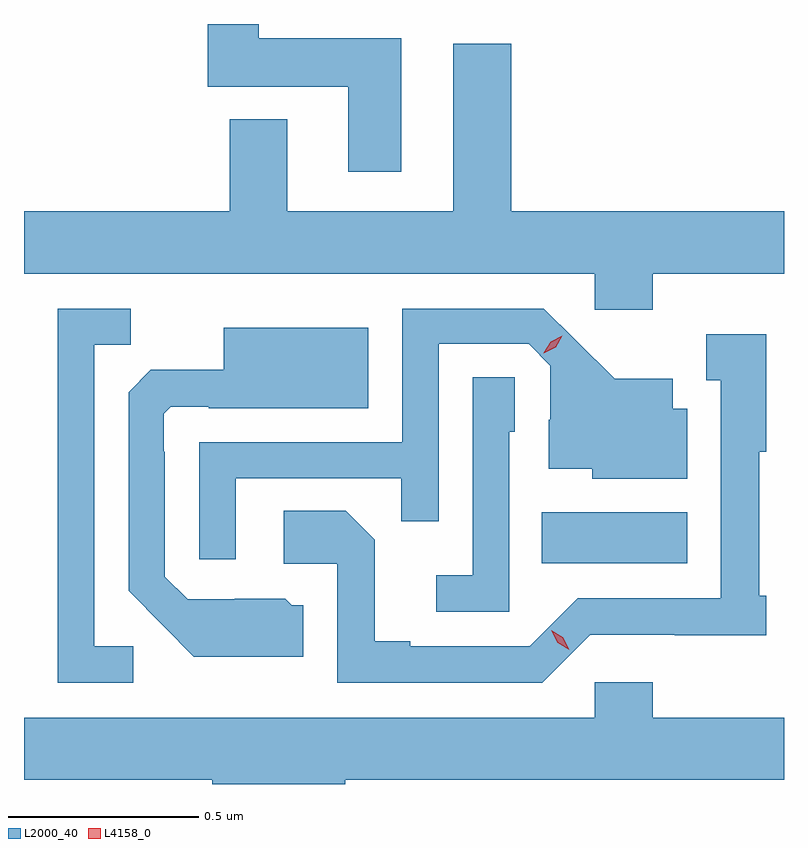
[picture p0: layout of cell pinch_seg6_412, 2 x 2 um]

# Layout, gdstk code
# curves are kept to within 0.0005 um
import gdstk
lib = gdstk.Library(unit=1e-6, precision=1e-09)
def R(c, l, rs):  # rectangles x0, y0, x1, y1
    for r in rs: c.add(gdstk.rectangle(r[:2], r[2:], *l))
def P(c, l, *ps):  # polygons
    for p in ps: c.add(gdstk.Polygon(p, *l))
L2000_40 = (2000, 40)
L4158_0 = (4158, 0)

pinch_seg6_412 = lib.new_cell('pinch_seg6_412')
R(pinch_seg6_412, L2000_40, [(665.728,934.586,666.112,934.72)])
P(pinch_seg6_412, L2000_40, [(665.359,935.968),(664.984,935.968),(664.984,936.005),(664.85,936.005),(664.85,935.84),(665.219,935.84),(665.219,935.616),(665.359,935.616)],
  [(665.868,935.253),(666.02,935.253),(666.02,935.348),(666.366,935.348),(666.366,935.512),(665.648,935.512),(665.648,935.953),(665.495,935.953),(665.495,935.512),(665.059,935.512),(665.059,935.755),(664.907,935.755),(664.907,935.512),(664.366,935.512),(664.366,935.348),(665.868,935.348)],
  [(664.654,934.368),(664.551,934.368),(664.551,935.161),(664.647,935.161),(664.647,935.256),(664.455,935.256),(664.455,934.272),(664.654,934.272)],
  [(664.923,934.809),(665.359,934.809),(665.359,934.696),(665.457,934.696),(665.457,935.163),(665.694,935.163),(665.751,935.106),(665.751,934.964),(665.747,934.964),(665.747,934.835),(665.862,934.835),(665.862,934.808),(666.112,934.808),(666.112,934.993),(666.073,934.993),(666.073,935.071),(665.921,935.071),(665.734,935.256),(665.361,935.256),(665.361,934.905),(664.827,934.905),(664.827,934.596),(664.923,934.596)],
  [(665.101,934.476),(665.07,934.476),(665.054,934.492),(664.92,934.492),(664.92,934.491),(664.797,934.491),(664.737,934.551),(664.737,934.88),(664.734,934.88),(664.734,934.98),(664.752,934.998),(664.852,934.998),(664.852,934.994),(665.272,934.994),(665.272,935.206),(664.892,935.206),(664.892,935.095),(664.7,935.095),(664.641,935.036),(664.641,934.514),(664.813,934.34),(665.101,934.34)],
  [(665.856,934.398),(666.078,934.398),(666.078,934.397),(666.319,934.397),(666.319,934.501),(666.301,934.501),(666.301,934.879),(666.319,934.879),(666.319,935.188),(666.161,935.188),(666.161,935.067),(666.2,935.067),(666.2,934.494),(665.823,934.494),(665.697,934.368),(665.383,934.368),(665.383,934.381),(665.289,934.381),(665.289,934.648),(665.213,934.724),(665.049,934.724),(665.049,934.584),(665.19,934.584),(665.19,934.272),(665.73,934.272)],
  [(665.643,934.932),(665.658,934.932),(665.658,935.075),(665.547,935.075),(665.547,934.555),(665.451,934.555),(665.451,934.458),(665.643,934.458)],
  [(665.212,934.016),(666.366,934.016),(666.366,934.18),(666.02,934.18),(666.02,934.273),(665.868,934.273),(665.868,934.18),(664.366,934.18),(664.366,934.016),(664.862,934.016),(664.862,934.005),(665.212,934.005)])
P(pinch_seg6_412, L4158_0, [(665.801,934.358),(665.77,934.377),(665.753,934.41),(665.753,934.41),(665.753,934.41),(665.784,934.391),(665.801,934.358),(665.801,934.358)],
  [(665.734,935.139),(665.734,935.14),(665.752,935.169),(665.783,935.184),(665.783,935.184),(665.783,935.184),(665.765,935.154),(665.734,935.139)])

lib.write_gds('pinch_seg6_412.gds')
